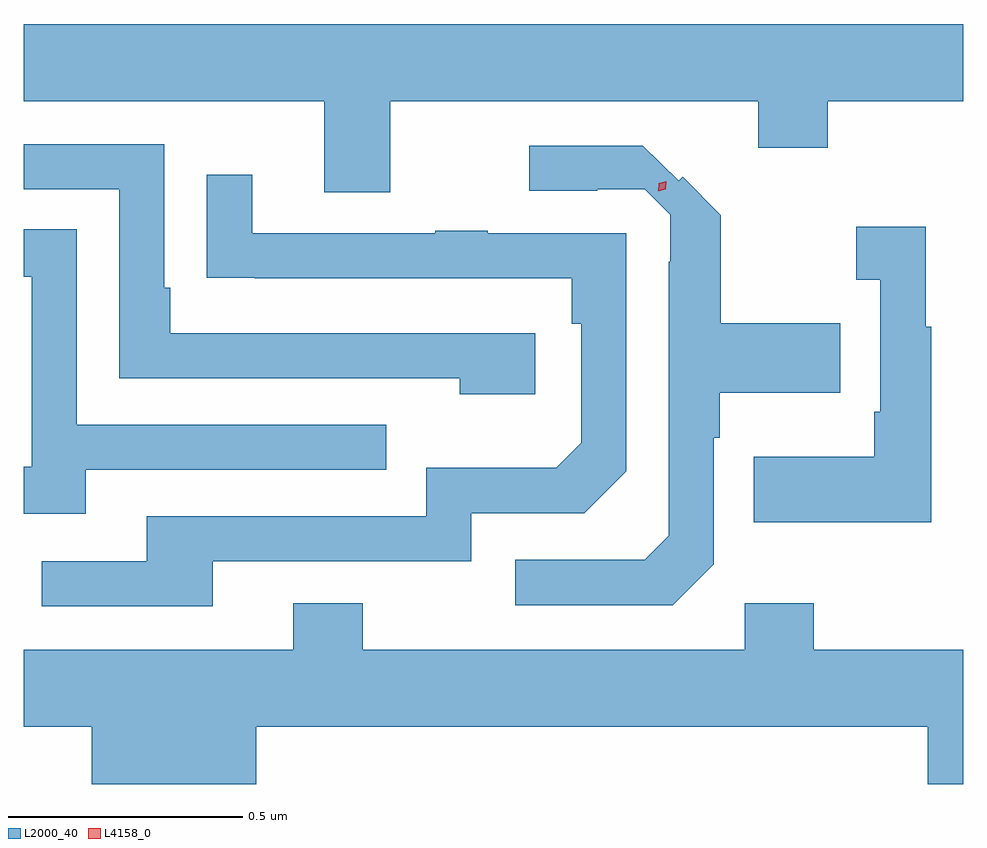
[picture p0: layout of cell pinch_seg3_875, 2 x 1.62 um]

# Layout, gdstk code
import gdstk
lib = gdstk.Library(unit=1e-6, precision=1e-09)
def P(c, l, *ps):  # polygons
    for p in ps: c.add(gdstk.Polygon(p, *l))
L2000_40 = (2000, 40)
L4158_0 = (4158, 0)

pinch_seg3_875 = lib.new_cell('pinch_seg3_875')
P(pinch_seg3_875, L2000_40, [(662.389,668.948),(663.173,668.948),(663.173,668.849),(663.321,668.849),(663.321,668.948),(663.609,668.948),(663.609,669.112),(661.609,669.112),(661.609,668.948),(662.249,668.948),(662.249,668.754),(662.389,668.754)],
  [(662.698,668.454),(661.921,668.454),(661.921,668.551),(661.908,668.551),(661.908,668.856),(661.609,668.856),(661.609,668.76),(661.812,668.76),(661.812,668.358),(662.537,668.358),(662.537,668.324),(662.698,668.324)],
  [(663.078,667.962),(663.078,668.231),(663.091,668.231),(663.091,668.327),(663.347,668.327),(663.347,668.475),(663.093,668.475),(663.093,668.705),(663.012,668.787),(663.003,668.778),(662.927,668.853),(662.685,668.853),(662.685,668.757),(662.83,668.757),(662.83,668.76),(662.931,668.76),(662.985,668.706),(662.985,668.606),(662.982,668.606),(662.982,668.022),(662.931,667.971),(662.655,667.971),(662.655,667.875),(662.991,667.875)],
  [(662.011,667.968),(662.562,667.968),(662.562,668.07),(662.802,668.07),(662.892,668.16),(662.892,668.667),(662.597,668.667),(662.597,668.672),(662.485,668.672),(662.485,668.667),(662.095,668.667),(662.095,668.791),(661.999,668.791),(661.999,668.572),(662.101,668.572),(662.101,668.571),(662.776,668.571),(662.776,668.474),(662.796,668.474),(662.796,668.22),(662.743,668.167),(662.466,668.167),(662.466,668.064),(661.871,668.064),(661.871,667.968),(661.647,667.968),(661.647,667.872),(662.011,667.872)],
  [(663.541,668.467),(663.529,668.467),(663.529,668.68),(663.381,668.68),(663.381,668.567),(663.432,668.567),(663.432,668.287),(663.42,668.287),(663.42,668.191),(663.163,668.191),(663.163,668.051),(663.541,668.051)],
  [(661.741,668.163),(662.381,668.163),(662.381,668.259),(661.722,668.259),(661.722,668.675),(661.609,668.675),(661.609,668.574),(661.626,668.574),(661.626,668.169),(661.609,668.169),(661.609,668.069),(661.741,668.069)],
  [(662.104,667.616),(663.533,667.616),(663.533,667.494),(663.609,667.494),(663.609,667.78),(663.291,667.78),(663.291,667.879),(663.144,667.879),(663.144,667.78),(662.331,667.78),(662.331,667.879),(662.183,667.879),(662.183,667.78),(661.609,667.78),(661.609,667.616),(661.754,667.616),(661.754,667.494),(662.104,667.494)])
P(pinch_seg3_875, L4158_0, [(662.96,668.756),(662.96,668.756),(662.961,668.773),(662.977,668.777),(662.977,668.777),(662.977,668.777),(662.976,668.76),(662.96,668.756)])

lib.write_gds('pinch_seg3_875.gds')
